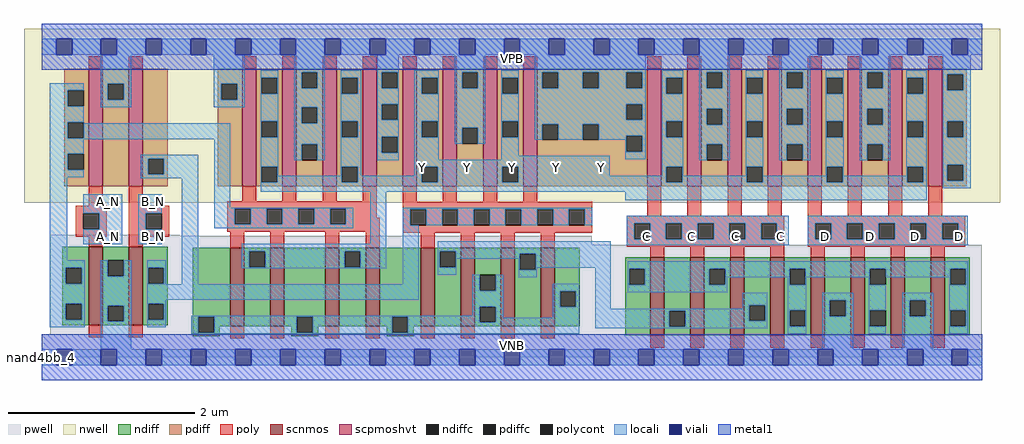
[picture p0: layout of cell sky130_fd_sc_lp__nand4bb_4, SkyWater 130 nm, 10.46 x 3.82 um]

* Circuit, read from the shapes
.subckt sky130_fd_sc_lp__nand4bb_4 A_N B_N C D VGND VNB VPB VPWR Y
XM1 VGND A_N n1 VNB sky130_fd_pr__nfet_01v8 w=0.84 l=0.15
XM2 n2 B_N VGND VNB sky130_fd_pr__nfet_01v8 w=0.84 l=0.15
XM3 Y n1 n3 VNB sky130_fd_pr__nfet_01v8 w=0.84 l=0.15 m=4
XM4 n4 n2 n3 VNB sky130_fd_pr__nfet_01v8 w=0.84 l=0.15 m=4
XM5 n4 C n5 VNB sky130_fd_pr__nfet_01v8 w=0.84 l=0.15 m=4
XM6 VGND D n5 VNB sky130_fd_pr__nfet_01v8 w=0.84 l=0.15 m=4
XM7 VPWR A_N n1 VPB sky130_fd_pr__pfet_01v8_hvt w=1.26 l=0.15
XM8 n2 B_N VPWR VPB sky130_fd_pr__pfet_01v8_hvt w=1.26 l=0.15
XM9 Y n1 VPWR VPB sky130_fd_pr__pfet_01v8_hvt w=1.26 l=0.15 m=4
XM10 Y n2 VPWR VPB sky130_fd_pr__pfet_01v8_hvt w=1.26 l=0.15 m=4
XM11 Y C VPWR VPB sky130_fd_pr__pfet_01v8_hvt w=1.26 l=0.15 m=4
XM12 Y D VPWR VPB sky130_fd_pr__pfet_01v8_hvt w=1.26 l=0.15 m=4
.ends

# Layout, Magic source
magic
tech sky130A
magscale 1 2
<< nwell >>
rect -38 331 2054 704
<< pwell >>
rect 18 261 296 263
rect 18 241 1179 261
rect 18 49 2015 241
rect 0 0 2016 49
<< scnmos >>
rect 101 69 131 237
rect 187 69 217 237
rect 404 67 434 235
rect 490 67 520 235
rect 608 67 638 235
rect 694 67 724 235
rect 812 67 842 235
rect 898 67 928 235
rect 984 67 1014 235
rect 1070 67 1100 235
rect 1304 47 1334 215
rect 1390 47 1420 215
rect 1476 47 1506 215
rect 1562 47 1592 215
rect 1648 47 1678 215
rect 1734 47 1764 215
rect 1820 47 1850 215
rect 1906 47 1936 215
<< scpmoshvt >>
rect 101 367 131 619
rect 187 367 217 619
rect 430 367 460 619
rect 516 367 546 619
rect 602 367 632 619
rect 688 367 718 619
rect 774 367 804 619
rect 860 367 890 619
rect 946 367 976 619
rect 1032 367 1062 619
rect 1298 367 1328 619
rect 1384 367 1414 619
rect 1470 367 1500 619
rect 1556 367 1586 619
rect 1642 367 1672 619
rect 1728 367 1758 619
rect 1814 367 1844 619
rect 1900 367 1930 619
<< ndiff >>
rect 44 192 101 237
rect 44 158 52 192
rect 86 158 101 192
rect 44 115 101 158
rect 44 81 52 115
rect 86 81 101 115
rect 44 69 101 81
rect 131 208 187 237
rect 131 174 142 208
rect 176 174 187 208
rect 131 111 187 174
rect 131 77 142 111
rect 176 77 187 111
rect 131 69 187 77
rect 217 192 270 237
rect 217 158 228 192
rect 262 158 270 192
rect 217 115 270 158
rect 217 81 228 115
rect 262 81 270 115
rect 217 69 270 81
rect 324 87 404 235
rect 324 53 336 87
rect 370 67 404 87
rect 434 227 490 235
rect 434 193 445 227
rect 479 193 490 227
rect 434 67 490 193
rect 520 87 608 235
rect 520 67 547 87
rect 370 53 382 67
rect 324 45 382 53
rect 535 53 547 67
rect 581 67 608 87
rect 638 227 694 235
rect 638 193 649 227
rect 683 193 694 227
rect 638 67 694 193
rect 724 87 812 235
rect 724 67 751 87
rect 581 53 593 67
rect 535 45 593 53
rect 739 53 751 67
rect 785 67 812 87
rect 842 227 898 235
rect 842 193 853 227
rect 887 193 898 227
rect 842 67 898 193
rect 928 177 984 235
rect 928 143 939 177
rect 973 143 984 177
rect 928 109 984 143
rect 928 75 939 109
rect 973 75 984 109
rect 928 67 984 75
rect 1014 222 1070 235
rect 1014 188 1025 222
rect 1059 188 1070 222
rect 1014 67 1070 188
rect 1100 142 1153 235
rect 1100 108 1111 142
rect 1145 108 1153 142
rect 1100 67 1153 108
rect 1251 190 1304 215
rect 1251 156 1259 190
rect 1293 156 1304 190
rect 785 53 797 67
rect 739 45 797 53
rect 1251 47 1304 156
rect 1334 100 1390 215
rect 1334 66 1345 100
rect 1379 66 1390 100
rect 1334 47 1390 66
rect 1420 190 1476 215
rect 1420 156 1431 190
rect 1465 156 1476 190
rect 1420 47 1476 156
rect 1506 112 1562 215
rect 1506 78 1517 112
rect 1551 78 1562 112
rect 1506 47 1562 78
rect 1592 190 1648 215
rect 1592 156 1603 190
rect 1637 156 1648 190
rect 1592 101 1648 156
rect 1592 67 1603 101
rect 1637 67 1648 101
rect 1592 47 1648 67
rect 1678 122 1734 215
rect 1678 88 1689 122
rect 1723 88 1734 122
rect 1678 47 1734 88
rect 1764 190 1820 215
rect 1764 156 1775 190
rect 1809 156 1820 190
rect 1764 101 1820 156
rect 1764 67 1775 101
rect 1809 67 1820 101
rect 1764 47 1820 67
rect 1850 122 1906 215
rect 1850 88 1861 122
rect 1895 88 1906 122
rect 1850 47 1906 88
rect 1936 190 1989 215
rect 1936 156 1947 190
rect 1981 156 1989 190
rect 1936 101 1989 156
rect 1936 67 1947 101
rect 1981 67 1989 101
rect 1936 47 1989 67
<< pdiff >>
rect 48 572 101 619
rect 48 538 56 572
rect 90 538 101 572
rect 48 504 101 538
rect 48 470 56 504
rect 90 470 101 504
rect 48 436 101 470
rect 48 402 56 436
rect 90 402 101 436
rect 48 367 101 402
rect 131 586 187 619
rect 131 552 142 586
rect 176 552 187 586
rect 131 367 187 552
rect 217 426 270 619
rect 217 392 228 426
rect 262 392 270 426
rect 217 367 270 392
rect 377 586 430 619
rect 377 552 385 586
rect 419 552 430 586
rect 377 367 430 552
rect 460 599 516 619
rect 460 565 471 599
rect 505 565 516 599
rect 460 506 516 565
rect 460 472 471 506
rect 505 472 516 506
rect 460 409 516 472
rect 460 375 471 409
rect 505 375 516 409
rect 460 367 516 375
rect 546 611 602 619
rect 546 577 557 611
rect 591 577 602 611
rect 546 536 602 577
rect 546 502 557 536
rect 591 502 602 536
rect 546 457 602 502
rect 546 423 557 457
rect 591 423 602 457
rect 546 367 602 423
rect 632 599 688 619
rect 632 565 643 599
rect 677 565 688 599
rect 632 506 688 565
rect 632 472 643 506
rect 677 472 688 506
rect 632 409 688 472
rect 632 375 643 409
rect 677 375 688 409
rect 632 367 688 375
rect 718 611 774 619
rect 718 577 729 611
rect 763 577 774 611
rect 718 543 774 577
rect 718 509 729 543
rect 763 509 774 543
rect 718 473 774 509
rect 718 439 729 473
rect 763 439 774 473
rect 718 367 774 439
rect 804 599 860 619
rect 804 565 815 599
rect 849 565 860 599
rect 804 506 860 565
rect 804 472 815 506
rect 849 472 860 506
rect 804 409 860 472
rect 804 375 815 409
rect 849 375 860 409
rect 804 367 860 375
rect 890 611 946 619
rect 890 577 901 611
rect 935 577 946 611
rect 890 492 946 577
rect 890 458 901 492
rect 935 458 946 492
rect 890 367 946 458
rect 976 599 1032 619
rect 976 565 987 599
rect 1021 565 1032 599
rect 976 506 1032 565
rect 976 472 987 506
rect 1021 472 1032 506
rect 976 409 1032 472
rect 976 375 987 409
rect 1021 375 1032 409
rect 976 367 1032 375
rect 1062 611 1298 619
rect 1062 577 1073 611
rect 1107 577 1160 611
rect 1194 577 1253 611
rect 1287 577 1298 611
rect 1062 543 1298 577
rect 1062 509 1253 543
rect 1287 509 1298 543
rect 1062 500 1298 509
rect 1062 466 1073 500
rect 1107 466 1160 500
rect 1194 475 1298 500
rect 1194 466 1253 475
rect 1062 441 1253 466
rect 1287 441 1298 475
rect 1062 367 1298 441
rect 1328 599 1384 619
rect 1328 565 1339 599
rect 1373 565 1384 599
rect 1328 506 1384 565
rect 1328 472 1339 506
rect 1373 472 1384 506
rect 1328 409 1384 472
rect 1328 375 1339 409
rect 1373 375 1384 409
rect 1328 367 1384 375
rect 1414 611 1470 619
rect 1414 577 1425 611
rect 1459 577 1470 611
rect 1414 533 1470 577
rect 1414 499 1425 533
rect 1459 499 1470 533
rect 1414 457 1470 499
rect 1414 423 1425 457
rect 1459 423 1470 457
rect 1414 367 1470 423
rect 1500 599 1556 619
rect 1500 565 1511 599
rect 1545 565 1556 599
rect 1500 506 1556 565
rect 1500 472 1511 506
rect 1545 472 1556 506
rect 1500 409 1556 472
rect 1500 375 1511 409
rect 1545 375 1556 409
rect 1500 367 1556 375
rect 1586 611 1642 619
rect 1586 577 1597 611
rect 1631 577 1642 611
rect 1586 533 1642 577
rect 1586 499 1597 533
rect 1631 499 1642 533
rect 1586 457 1642 499
rect 1586 423 1597 457
rect 1631 423 1642 457
rect 1586 367 1642 423
rect 1672 599 1728 619
rect 1672 565 1683 599
rect 1717 565 1728 599
rect 1672 506 1728 565
rect 1672 472 1683 506
rect 1717 472 1728 506
rect 1672 409 1728 472
rect 1672 375 1683 409
rect 1717 375 1728 409
rect 1672 367 1728 375
rect 1758 611 1814 619
rect 1758 577 1769 611
rect 1803 577 1814 611
rect 1758 533 1814 577
rect 1758 499 1769 533
rect 1803 499 1814 533
rect 1758 457 1814 499
rect 1758 423 1769 457
rect 1803 423 1814 457
rect 1758 367 1814 423
rect 1844 599 1900 619
rect 1844 565 1855 599
rect 1889 565 1900 599
rect 1844 506 1900 565
rect 1844 472 1855 506
rect 1889 472 1900 506
rect 1844 409 1900 472
rect 1844 375 1855 409
rect 1889 375 1900 409
rect 1844 367 1900 375
rect 1930 607 1983 619
rect 1930 573 1941 607
rect 1975 573 1983 607
rect 1930 506 1983 573
rect 1930 472 1941 506
rect 1975 472 1983 506
rect 1930 413 1983 472
rect 1930 379 1941 413
rect 1975 379 1983 413
rect 1930 367 1983 379
<< ndiffc >>
rect 52 158 86 192
rect 52 81 86 115
rect 142 174 176 208
rect 142 77 176 111
rect 228 158 262 192
rect 228 81 262 115
rect 336 53 370 87
rect 445 193 479 227
rect 547 53 581 87
rect 649 193 683 227
rect 751 53 785 87
rect 853 193 887 227
rect 939 143 973 177
rect 939 75 973 109
rect 1025 188 1059 222
rect 1111 108 1145 142
rect 1259 156 1293 190
rect 1345 66 1379 100
rect 1431 156 1465 190
rect 1517 78 1551 112
rect 1603 156 1637 190
rect 1603 67 1637 101
rect 1689 88 1723 122
rect 1775 156 1809 190
rect 1775 67 1809 101
rect 1861 88 1895 122
rect 1947 156 1981 190
rect 1947 67 1981 101
<< pdiffc >>
rect 56 538 90 572
rect 56 470 90 504
rect 56 402 90 436
rect 142 552 176 586
rect 228 392 262 426
rect 385 552 419 586
rect 471 565 505 599
rect 471 472 505 506
rect 471 375 505 409
rect 557 577 591 611
rect 557 502 591 536
rect 557 423 591 457
rect 643 565 677 599
rect 643 472 677 506
rect 643 375 677 409
rect 729 577 763 611
rect 729 509 763 543
rect 729 439 763 473
rect 815 565 849 599
rect 815 472 849 506
rect 815 375 849 409
rect 901 577 935 611
rect 901 458 935 492
rect 987 565 1021 599
rect 987 472 1021 506
rect 987 375 1021 409
rect 1073 577 1107 611
rect 1160 577 1194 611
rect 1253 577 1287 611
rect 1253 509 1287 543
rect 1073 466 1107 500
rect 1160 466 1194 500
rect 1253 441 1287 475
rect 1339 565 1373 599
rect 1339 472 1373 506
rect 1339 375 1373 409
rect 1425 577 1459 611
rect 1425 499 1459 533
rect 1425 423 1459 457
rect 1511 565 1545 599
rect 1511 472 1545 506
rect 1511 375 1545 409
rect 1597 577 1631 611
rect 1597 499 1631 533
rect 1597 423 1631 457
rect 1683 565 1717 599
rect 1683 472 1717 506
rect 1683 375 1717 409
rect 1769 577 1803 611
rect 1769 499 1803 533
rect 1769 423 1803 457
rect 1855 565 1889 599
rect 1855 472 1889 506
rect 1855 375 1889 409
rect 1941 573 1975 607
rect 1941 472 1975 506
rect 1941 379 1975 413
<< poly >>
rect 101 619 131 645
rect 187 619 217 645
rect 430 619 460 645
rect 516 619 546 645
rect 602 619 632 645
rect 688 619 718 645
rect 774 619 804 645
rect 860 619 890 645
rect 946 619 976 645
rect 1032 619 1062 645
rect 1298 619 1328 645
rect 1384 619 1414 645
rect 1470 619 1500 645
rect 1556 619 1586 645
rect 1642 619 1672 645
rect 1728 619 1758 645
rect 1814 619 1844 645
rect 1900 619 1930 645
rect 101 325 131 367
rect 187 325 217 367
rect 430 335 460 367
rect 516 335 546 367
rect 602 335 632 367
rect 688 335 718 367
rect 73 309 139 325
rect 73 275 89 309
rect 123 275 139 309
rect 73 259 139 275
rect 187 309 273 325
rect 187 275 223 309
rect 257 275 273 309
rect 187 259 273 275
rect 398 319 718 335
rect 398 285 414 319
rect 448 285 482 319
rect 516 285 550 319
rect 584 285 618 319
rect 652 299 718 319
rect 774 333 804 367
rect 860 333 890 367
rect 946 333 976 367
rect 1032 333 1062 367
rect 774 317 1180 333
rect 652 285 724 299
rect 398 269 724 285
rect 101 237 131 259
rect 187 237 217 259
rect 404 235 434 269
rect 490 235 520 269
rect 608 235 638 269
rect 694 235 724 269
rect 774 283 790 317
rect 824 283 858 317
rect 892 283 926 317
rect 960 283 994 317
rect 1028 283 1062 317
rect 1096 283 1130 317
rect 1164 283 1180 317
rect 1298 303 1328 367
rect 1384 303 1414 367
rect 1470 303 1500 367
rect 1556 303 1586 367
rect 1642 303 1672 367
rect 1728 303 1758 367
rect 1814 303 1844 367
rect 1900 303 1930 367
rect 774 267 1180 283
rect 1254 287 1592 303
rect 812 235 842 267
rect 898 235 928 267
rect 984 235 1014 267
rect 1070 235 1100 267
rect 1254 253 1270 287
rect 1304 253 1338 287
rect 1372 253 1406 287
rect 1440 253 1474 287
rect 1508 253 1542 287
rect 1576 253 1592 287
rect 1254 237 1592 253
rect 1642 287 1980 303
rect 1642 253 1658 287
rect 1692 253 1726 287
rect 1760 253 1794 287
rect 1828 253 1862 287
rect 1896 253 1930 287
rect 1964 253 1980 287
rect 1642 237 1980 253
rect 101 43 131 69
rect 187 43 217 69
rect 404 41 434 67
rect 490 41 520 67
rect 608 41 638 67
rect 694 41 724 67
rect 1304 215 1334 237
rect 1390 215 1420 237
rect 1476 215 1506 237
rect 1562 215 1592 237
rect 1648 215 1678 237
rect 1734 215 1764 237
rect 1820 215 1850 237
rect 1906 215 1936 237
rect 812 41 842 67
rect 898 41 928 67
rect 984 41 1014 67
rect 1070 41 1100 67
rect 1304 21 1334 47
rect 1390 21 1420 47
rect 1476 21 1506 47
rect 1562 21 1592 47
rect 1648 21 1678 47
rect 1734 21 1764 47
rect 1820 21 1850 47
rect 1906 21 1936 47
<< polycont >>
rect 89 275 123 309
rect 223 275 257 309
rect 414 285 448 319
rect 482 285 516 319
rect 550 285 584 319
rect 618 285 652 319
rect 790 283 824 317
rect 858 283 892 317
rect 926 283 960 317
rect 994 283 1028 317
rect 1062 283 1096 317
rect 1130 283 1164 317
rect 1270 253 1304 287
rect 1338 253 1372 287
rect 1406 253 1440 287
rect 1474 253 1508 287
rect 1542 253 1576 287
rect 1658 253 1692 287
rect 1726 253 1760 287
rect 1794 253 1828 287
rect 1862 253 1896 287
rect 1930 253 1964 287
<< locali >>
rect 0 649 31 683
rect 65 649 127 683
rect 161 649 223 683
rect 257 649 319 683
rect 353 649 415 683
rect 449 649 511 683
rect 545 649 607 683
rect 641 649 703 683
rect 737 649 799 683
rect 833 649 895 683
rect 929 649 991 683
rect 1025 649 1087 683
rect 1121 649 1183 683
rect 1217 649 1279 683
rect 1313 649 1375 683
rect 1409 649 1471 683
rect 1505 649 1567 683
rect 1601 649 1663 683
rect 1697 649 1759 683
rect 1793 649 1855 683
rect 1889 649 1951 683
rect 1985 649 2016 683
rect 17 572 90 588
rect 17 538 56 572
rect 17 504 90 538
rect 126 586 192 649
rect 126 552 142 586
rect 176 552 192 586
rect 126 536 192 552
rect 369 586 435 649
rect 369 552 385 586
rect 419 552 435 586
rect 369 536 435 552
rect 469 599 507 615
rect 469 565 471 599
rect 505 565 507 599
rect 17 470 56 504
rect 469 506 507 565
rect 90 470 404 502
rect 17 468 404 470
rect 17 436 90 468
rect 17 402 56 436
rect 17 386 90 402
rect 212 426 336 434
rect 212 392 228 426
rect 262 392 336 426
rect 17 208 55 386
rect 212 384 336 392
rect 89 309 173 350
rect 123 275 173 309
rect 89 242 173 275
rect 207 309 257 350
rect 207 275 223 309
rect 207 242 257 275
rect 17 192 92 208
rect 17 158 52 192
rect 86 158 92 192
rect 17 115 92 158
rect 17 81 52 115
rect 86 81 92 115
rect 17 65 92 81
rect 126 174 142 208
rect 176 174 192 208
rect 126 111 192 174
rect 126 77 142 111
rect 176 77 192 111
rect 126 17 192 77
rect 226 192 266 208
rect 226 158 228 192
rect 262 158 266 192
rect 226 157 266 158
rect 300 157 336 384
rect 370 321 404 468
rect 469 472 471 506
rect 505 472 507 506
rect 469 409 507 472
rect 541 611 607 649
rect 541 577 557 611
rect 591 577 607 611
rect 541 536 607 577
rect 541 502 557 536
rect 591 502 607 536
rect 541 457 607 502
rect 541 423 557 457
rect 591 423 607 457
rect 641 599 685 615
rect 641 565 643 599
rect 677 565 685 599
rect 641 506 685 565
rect 641 472 643 506
rect 677 472 685 506
rect 469 375 471 409
rect 505 389 507 409
rect 641 409 685 472
rect 719 611 765 649
rect 719 577 729 611
rect 763 577 765 611
rect 719 543 765 577
rect 719 509 729 543
rect 763 509 765 543
rect 719 473 765 509
rect 719 439 729 473
rect 763 439 765 473
rect 719 423 765 439
rect 799 599 851 615
rect 799 565 815 599
rect 849 565 851 599
rect 799 506 851 565
rect 799 472 815 506
rect 849 472 851 506
rect 799 424 851 472
rect 885 611 951 649
rect 885 577 901 611
rect 935 577 951 611
rect 885 492 951 577
rect 885 458 901 492
rect 935 458 951 492
rect 985 599 1023 615
rect 985 565 987 599
rect 1021 565 1023 599
rect 985 506 1023 565
rect 985 472 987 506
rect 1021 472 1023 506
rect 985 432 1023 472
rect 1057 611 1295 649
rect 1057 577 1073 611
rect 1107 577 1160 611
rect 1194 577 1253 611
rect 1287 577 1295 611
rect 1057 543 1295 577
rect 1057 509 1253 543
rect 1287 509 1295 543
rect 1057 500 1295 509
rect 1057 466 1073 500
rect 1107 466 1160 500
rect 1194 475 1295 500
rect 1194 466 1253 475
rect 1251 441 1253 466
rect 1287 441 1295 475
rect 985 424 1217 432
rect 1251 425 1295 441
rect 1329 599 1375 615
rect 1329 565 1339 599
rect 1373 565 1375 599
rect 1329 506 1375 565
rect 1329 472 1339 506
rect 1373 472 1375 506
rect 641 389 643 409
rect 505 375 643 389
rect 677 389 685 409
rect 799 409 1217 424
rect 799 389 815 409
rect 677 375 815 389
rect 849 375 987 409
rect 1021 389 1217 409
rect 1329 409 1375 472
rect 1409 611 1475 649
rect 1409 577 1425 611
rect 1459 577 1475 611
rect 1409 533 1475 577
rect 1409 499 1425 533
rect 1459 499 1475 533
rect 1409 457 1475 499
rect 1409 423 1425 457
rect 1459 423 1475 457
rect 1509 599 1547 615
rect 1509 565 1511 599
rect 1545 565 1547 599
rect 1509 506 1547 565
rect 1509 472 1511 506
rect 1545 472 1547 506
rect 1329 389 1339 409
rect 1021 375 1339 389
rect 1373 389 1375 409
rect 1509 409 1547 472
rect 1581 611 1647 649
rect 1581 577 1597 611
rect 1631 577 1647 611
rect 1581 533 1647 577
rect 1581 499 1597 533
rect 1631 499 1647 533
rect 1581 457 1647 499
rect 1581 423 1597 457
rect 1631 423 1647 457
rect 1681 599 1719 615
rect 1681 565 1683 599
rect 1717 565 1719 599
rect 1681 506 1719 565
rect 1681 472 1683 506
rect 1717 472 1719 506
rect 1509 389 1511 409
rect 1373 375 1511 389
rect 1545 389 1547 409
rect 1681 409 1719 472
rect 1753 611 1819 649
rect 1753 577 1769 611
rect 1803 577 1819 611
rect 1753 533 1819 577
rect 1753 499 1769 533
rect 1803 499 1819 533
rect 1753 457 1819 499
rect 1753 423 1769 457
rect 1803 423 1819 457
rect 1853 599 1897 615
rect 1853 565 1855 599
rect 1889 565 1897 599
rect 1853 506 1897 565
rect 1853 472 1855 506
rect 1889 472 1897 506
rect 1681 389 1683 409
rect 1545 375 1683 389
rect 1717 389 1719 409
rect 1853 409 1897 472
rect 1853 389 1855 409
rect 1717 375 1855 389
rect 1889 375 1897 409
rect 469 355 1897 375
rect 1931 607 1991 649
rect 1931 573 1941 607
rect 1975 573 1991 607
rect 1931 506 1991 573
rect 1931 472 1941 506
rect 1975 472 1991 506
rect 1931 413 1991 472
rect 1931 379 1941 413
rect 1975 379 1991 413
rect 1931 363 1991 379
rect 370 319 668 321
rect 370 285 414 319
rect 448 285 482 319
rect 516 285 550 319
rect 584 285 618 319
rect 652 285 668 319
rect 370 277 668 285
rect 704 243 738 355
rect 1251 337 1897 355
rect 429 227 738 243
rect 429 193 445 227
rect 479 193 649 227
rect 683 193 738 227
rect 429 191 738 193
rect 774 317 1180 321
rect 774 283 790 317
rect 824 283 858 317
rect 892 283 926 317
rect 960 283 994 317
rect 1028 283 1062 317
rect 1096 283 1130 317
rect 1164 283 1180 317
rect 1254 287 1601 303
rect 774 157 808 283
rect 1254 253 1270 287
rect 1304 253 1338 287
rect 1372 253 1406 287
rect 1440 253 1474 287
rect 1508 253 1542 287
rect 1576 253 1601 287
rect 849 227 1220 249
rect 1254 240 1601 253
rect 1642 287 1985 303
rect 1642 253 1658 287
rect 1692 253 1726 287
rect 1760 253 1794 287
rect 1828 253 1862 287
rect 1896 253 1930 287
rect 1964 253 1985 287
rect 1642 240 1985 253
rect 849 193 853 227
rect 887 222 1220 227
rect 887 211 1025 222
rect 887 193 889 211
rect 849 177 889 193
rect 1023 188 1025 211
rect 1059 192 1220 222
rect 1059 188 1061 192
rect 226 123 808 157
rect 923 143 939 177
rect 973 143 989 177
rect 1023 172 1061 188
rect 226 115 266 123
rect 226 81 228 115
rect 262 81 266 115
rect 923 109 989 143
rect 923 89 939 109
rect 226 65 266 81
rect 320 87 939 89
rect 320 53 336 87
rect 370 53 547 87
rect 581 53 751 87
rect 785 75 939 87
rect 973 85 989 109
rect 1095 142 1152 158
rect 1095 108 1111 142
rect 1145 108 1152 142
rect 1095 85 1152 108
rect 973 75 1152 85
rect 785 53 1152 75
rect 1186 104 1220 192
rect 1256 190 1985 206
rect 1256 156 1259 190
rect 1293 156 1431 190
rect 1465 172 1603 190
rect 1465 156 1469 172
rect 1256 140 1469 156
rect 1599 156 1603 172
rect 1637 172 1775 190
rect 1637 156 1639 172
rect 1503 112 1555 138
rect 1503 104 1517 112
rect 1186 100 1517 104
rect 1186 66 1345 100
rect 1379 78 1517 100
rect 1551 78 1555 112
rect 1379 66 1555 78
rect 1186 62 1555 66
rect 1599 101 1639 156
rect 1773 156 1775 172
rect 1809 172 1947 190
rect 1599 67 1603 101
rect 1637 67 1639 101
rect 320 51 1152 53
rect 1599 51 1639 67
rect 1673 122 1739 138
rect 1673 88 1689 122
rect 1723 88 1739 122
rect 1673 17 1739 88
rect 1773 101 1809 156
rect 1945 156 1947 172
rect 1981 156 1985 190
rect 1773 67 1775 101
rect 1773 51 1809 67
rect 1845 122 1911 138
rect 1845 88 1861 122
rect 1895 88 1911 122
rect 1845 17 1911 88
rect 1945 101 1985 156
rect 1945 67 1947 101
rect 1981 67 1985 101
rect 1945 51 1985 67
rect 0 -17 31 17
rect 65 -17 127 17
rect 161 -17 223 17
rect 257 -17 319 17
rect 353 -17 415 17
rect 449 -17 511 17
rect 545 -17 607 17
rect 641 -17 703 17
rect 737 -17 799 17
rect 833 -17 895 17
rect 929 -17 991 17
rect 1025 -17 1087 17
rect 1121 -17 1183 17
rect 1217 -17 1279 17
rect 1313 -17 1375 17
rect 1409 -17 1471 17
rect 1505 -17 1567 17
rect 1601 -17 1663 17
rect 1697 -17 1759 17
rect 1793 -17 1855 17
rect 1889 -17 1951 17
rect 1985 -17 2016 17
<< viali >>
rect 31 649 65 683
rect 127 649 161 683
rect 223 649 257 683
rect 319 649 353 683
rect 415 649 449 683
rect 511 649 545 683
rect 607 649 641 683
rect 703 649 737 683
rect 799 649 833 683
rect 895 649 929 683
rect 991 649 1025 683
rect 1087 649 1121 683
rect 1183 649 1217 683
rect 1279 649 1313 683
rect 1375 649 1409 683
rect 1471 649 1505 683
rect 1567 649 1601 683
rect 1663 649 1697 683
rect 1759 649 1793 683
rect 1855 649 1889 683
rect 1951 649 1985 683
rect 31 -17 65 17
rect 127 -17 161 17
rect 223 -17 257 17
rect 319 -17 353 17
rect 415 -17 449 17
rect 511 -17 545 17
rect 607 -17 641 17
rect 703 -17 737 17
rect 799 -17 833 17
rect 895 -17 929 17
rect 991 -17 1025 17
rect 1087 -17 1121 17
rect 1183 -17 1217 17
rect 1279 -17 1313 17
rect 1375 -17 1409 17
rect 1471 -17 1505 17
rect 1567 -17 1601 17
rect 1663 -17 1697 17
rect 1759 -17 1793 17
rect 1855 -17 1889 17
rect 1951 -17 1985 17
<< metal1 >>
rect 0 683 2016 715
rect 0 649 31 683
rect 65 649 127 683
rect 161 649 223 683
rect 257 649 319 683
rect 353 649 415 683
rect 449 649 511 683
rect 545 649 607 683
rect 641 649 703 683
rect 737 649 799 683
rect 833 649 895 683
rect 929 649 991 683
rect 1025 649 1087 683
rect 1121 649 1183 683
rect 1217 649 1279 683
rect 1313 649 1375 683
rect 1409 649 1471 683
rect 1505 649 1567 683
rect 1601 649 1663 683
rect 1697 649 1759 683
rect 1793 649 1855 683
rect 1889 649 1951 683
rect 1985 649 2016 683
rect 0 617 2016 649
rect 0 17 2016 49
rect 0 -17 31 17
rect 65 -17 127 17
rect 161 -17 223 17
rect 257 -17 319 17
rect 353 -17 415 17
rect 449 -17 511 17
rect 545 -17 607 17
rect 641 -17 703 17
rect 737 -17 799 17
rect 833 -17 895 17
rect 929 -17 991 17
rect 1025 -17 1087 17
rect 1121 -17 1183 17
rect 1217 -17 1279 17
rect 1313 -17 1375 17
rect 1409 -17 1471 17
rect 1505 -17 1567 17
rect 1601 -17 1663 17
rect 1697 -17 1759 17
rect 1793 -17 1855 17
rect 1889 -17 1951 17
rect 1985 -17 2016 17
rect 0 -49 2016 -17
<< labels >>
flabel pwell s 0 0 2016 49 0 FreeSans 200 0 0 0 VNB
port 6 nsew ground bidirectional
flabel nwell s 0 617 2016 666 0 FreeSans 200 0 0 0 VPB
port 7 nsew power bidirectional
rlabel comment s 0 0 0 0 4 nand4bb_4
flabel metal1 s 0 617 2016 666 0 FreeSans 340 0 0 0 VPWR
port 8 nsew power bidirectional
flabel metal1 s 0 0 2016 49 0 FreeSans 340 0 0 0 VGND
port 5 nsew ground bidirectional
flabel locali s 1279 242 1313 276 0 FreeSans 340 0 0 0 C
port 3 nsew signal input
flabel locali s 1375 242 1409 276 0 FreeSans 340 0 0 0 C
port 3 nsew signal input
flabel locali s 1471 242 1505 276 0 FreeSans 340 0 0 0 C
port 3 nsew signal input
flabel locali s 1567 242 1601 276 0 FreeSans 340 0 0 0 C
port 3 nsew signal input
flabel locali s 1663 242 1697 276 0 FreeSans 340 0 0 0 D
port 4 nsew signal input
flabel locali s 1759 242 1793 276 0 FreeSans 340 0 0 0 D
port 4 nsew signal input
flabel locali s 1855 242 1889 276 0 FreeSans 340 0 0 0 D
port 4 nsew signal input
flabel locali s 1951 242 1985 276 0 FreeSans 340 0 0 0 D
port 4 nsew signal input
flabel locali s 127 242 161 276 0 FreeSans 340 0 0 0 A_N
port 1 nsew signal input
flabel locali s 127 316 161 350 0 FreeSans 340 0 0 0 A_N
port 1 nsew signal input
flabel locali s 223 242 257 276 0 FreeSans 340 0 0 0 B_N
port 2 nsew signal input
flabel locali s 223 316 257 350 0 FreeSans 340 0 0 0 B_N
port 2 nsew signal input
flabel locali s 799 390 833 424 0 FreeSans 340 0 0 0 Y
port 9 nsew signal output
flabel locali s 895 390 929 424 0 FreeSans 340 0 0 0 Y
port 9 nsew signal output
flabel locali s 991 390 1025 424 0 FreeSans 340 0 0 0 Y
port 9 nsew signal output
flabel locali s 1087 390 1121 424 0 FreeSans 340 0 0 0 Y
port 9 nsew signal output
flabel locali s 1183 390 1217 424 0 FreeSans 340 0 0 0 Y
port 9 nsew signal output
<< properties >>
string LEFsite unit
string LEFclass CORE
string FIXED_BBOX 0 0 2016 666
string GDS_FILE $PDKPATH/libs.ref/sky130_fd_sc_lp/gds/sky130_fd_sc_lp.gds
string LEFsymmetry X Y R90
string GDS_END 5667884
string GDS_START 5651126
<< end >>
